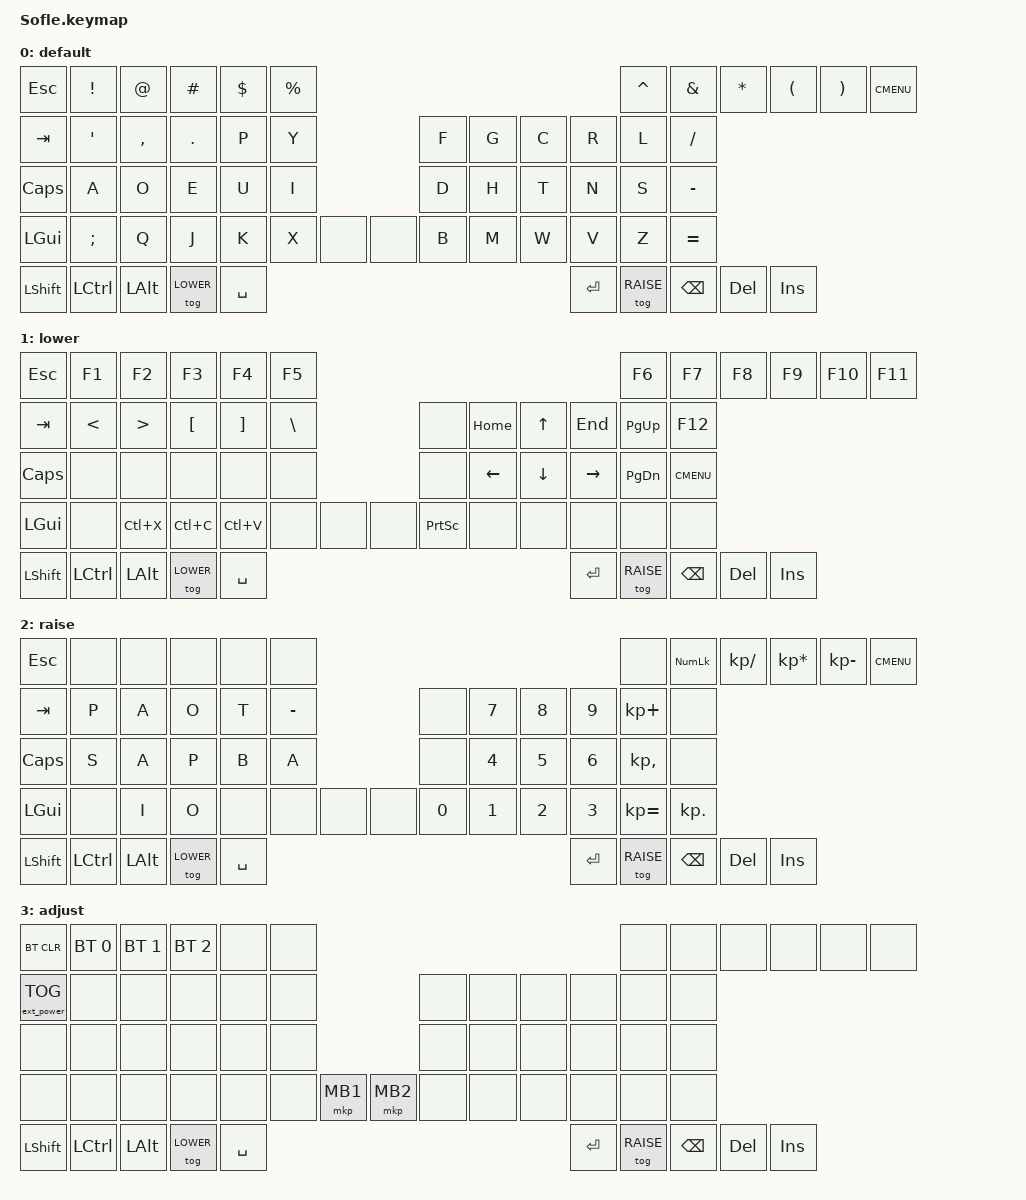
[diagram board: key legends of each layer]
/*
 * Copyright (c) 2020 The ZMK Contributors
 *
 * SPDX-License-Identifier: MIT
 */

#include <behaviors.dtsi>
#include <dt-bindings/zmk/keys.h>
#include <dt-bindings/zmk/bt.h>
#include <dt-bindings/zmk/rgb.h>
#include <dt-bindings/zmk/ext_power.h>
#include <dt-bindings/zmk/mouse.h>

#define BASE 0
#define LOWER 1
#define RAISE 2
#define ADJUST 3

/ {
conditional_layers {
    compatible = "zmk,conditional-layers";
    adjust_layer {
        if-layers = <LOWER RAISE>;
        then-layer = <ADJUST>;
    };
};


    keymap {
        compatible = "zmk,keymap";

        default_layer {
            display-name = "default";
            bindings = <
&kp ESC   &kp EXCL  &kp AT   &kp HASH  &kp DLLR  &kp PRCNT                   &kp CARET  &kp AMPS  &kp STAR  &kp LPAR  &kp RPAR  &kp K_CMENU
&kp TAB   &kp SQT   &kp COMMA  &kp DOT  &kp P   &kp Y                            &kp F  &kp G     &kp C     &kp R    &kp L    &kp FSLH
&kp CLCK  &kp A     &kp O      &kp E    &kp U   &kp I                            &kp D  &kp H     &kp T     &kp N    &kp S    &kp MINUS
&kp LGUI  &kp SEMI  &kp Q      &kp J    &kp K   &kp X   &none      &none        &kp B  &kp M     &kp W     &kp V    &kp Z    &kp EQUAL
        &kp LSHFT   &kp LCTRL   &kp LALT   &tog LOWER   &kp SPACE &kp RET    &tog RAISE   &kp BSPC   &kp DEL   &kp INS
            >;

            //sensor-bindings = <&inc_dec_kp C_VOL_DN C_VOL_UP &inc_dec_kp PG_UP PG_DN>;
        };

        lower_layer {
            display-name = "lower";
            bindings = <
&kp ESC   &kp F1 &kp F2     &kp F3     &kp F4     &kp F5                         &kp F6      &kp F7     &kp F8    &kp F9    &kp F10   &kp F11
&kp TAB   &kp LT  &kp GT    &kp LBKT   &kp RBKT   &kp BSLH                       &none       &kp HOME   &kp UP    &kp END   &kp PG_UP &kp F12
&kp CLCK  &none  &none      &none      &none      &none                          &none       &kp LEFT   &kp DOWN  &kp RIGHT &kp PG_DN  &kp K_CMENU
&kp LGUI  &none  &kp LC(X)  &kp LC(C)  &kp LC(V)  &none    &none      &none   &kp PSCRN   &none      &none     &none     &none     &none
                       &kp LSHFT   &kp LCTRL   &kp LALT   &tog LOWER   &kp SPACE &kp RET    &tog RAISE   &kp BSPC   &kp DEL   &kp INS
            >;


            //sensor-bindings = <&inc_dec_kp C_VOL_DN C_VOL_UP &inc_dec_kp PG_UP PG_DN>;
        };

        raise_layer {
            display-name = "raise";
            bindings = <
&kp ESC   &none    &none     &none     &none   &none                            &none  &kp KP_NUMLOCK &kp KP_DIVIDE &kp KP_MULTIPLY &kp KP_MINUS  &kp K_CMENU
&kp TAB   &kp P    &kp A     &kp O     &kp T   &kp MINUS                        &none  &kp N7         &kp N8        &kp N9          &kp KP_PLUS   &none
&kp CLCK  &kp S    &kp A     &kp P     &kp B   &kp A                            &none  &kp N4         &kp N5        &kp N6          &kp KP_COMMA  &none
&kp LGUI  &none    &kp I     &kp O     &none   &none   &none      &none      &kp N0 &kp N1         &kp N2        &kp N3          &kp KP_EQUAL  &kp KP_DOT
         &kp LSHFT   &kp LCTRL   &kp LALT   &tog LOWER   &kp SPACE &kp RET    &tog RAISE   &kp BSPC   &kp DEL   &kp INS
            >;

            //sensor-bindings = <&inc_dec_kp C_VOL_DN C_VOL_UP &inc_dec_kp PG_UP PG_DN>;
        };

        adjust_layer {
// ----------------------------------------------------------------------------------------------------------------------------
// | BTCLR  |  BT1    |  BT2    |   BT3   |   BT4   |   BT5   |                  |      |      |       |      |       |       |
// | EXTPWR | RGB_HUD | RGB_HUI | RGB_SAD | RGB_SAI | RGB_EFF |                  |      |      |       |      |       |       |
// |        | RGB_BRD | RGB_BRI |         |         |         |                  |      |      |       |      |       |       |
// |        |         |         |         |         |         | RGB_TOG | |      |      |      |       |      |       |       |
//                    |         |         |         |         |         | |      |      |      |       |      |
            display-name = "adjust";
            bindings = <
&bt BT_CLR        &bt BT_SEL 0 &bt BT_SEL 1 &bt BT_SEL 2 &none &none                    &none &none &none &none &none &none
&ext_power EP_TOG &none &none &none &none &none                    &none &none &none &none &none &none
&none             &none &none &none &none &none                    &none &none &none &none &none &none
&none             &none &none &none &none &none &mkp MB1 &mkp MB2  &none &none &none &none &none &none
        &kp LSHFT   &kp LCTRL   &kp LALT   &tog LOWER   &kp SPACE &kp RET    &tog RAISE   &kp BSPC   &kp DEL   &kp INS
            >;
      
        };
        extra1 {
            status = "reserved";
        };
        extra2 {
            status = "reserved";
        };
        extra3 {
            status = "reserved";
        };
        extra4 {
            status = "reserved";
        };

    };
};
